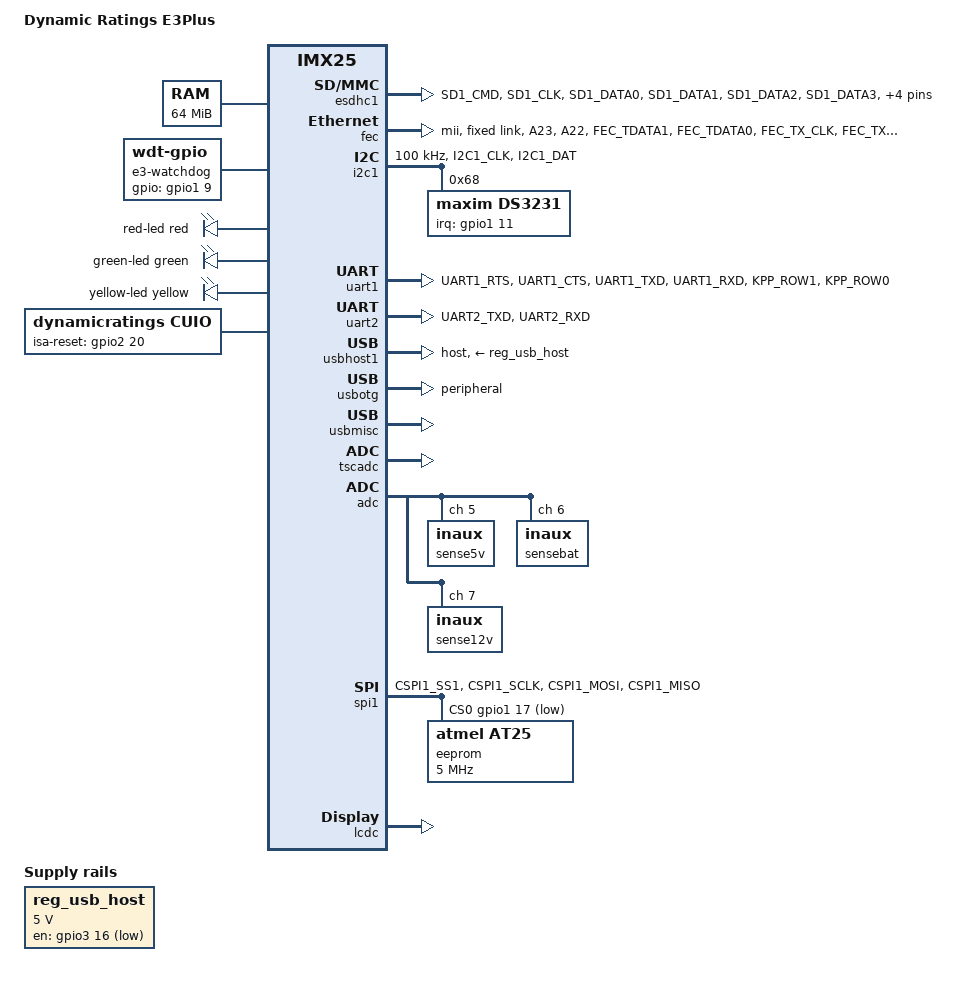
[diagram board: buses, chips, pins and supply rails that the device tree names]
// SPDX-License-Identifier: GPL-2.0+
//
// Copyright 2013 Freescale Semiconductor, Inc.

/dts-v1/;
#include <dt-bindings/gpio/gpio.h>
#include <dt-bindings/input/input.h>
#include <dt-bindings/interrupt-controller/irq.h>
#include <dt-bindings/iio/adc/fsl-imx25-gcq.h>
#include <dt-bindings/leds/common.h>
#include "imx25.dtsi"

/ {
	model = "Dynamic Ratings E3Plus";
	compatible = "fsl,imx25-dr-e3plus", "fsl,imx25";

	memory@80000000 {
		device_type = "memory";
		reg = <0x80000000 0x4000000>;
	};

	regulators {
		compatible = "simple-bus";
		#address-cells = <1>;
		#size-cells = <0>;

		reg_fec_3v3: regulator@0 {
			compatible = "regulator-fixed";
			reg = <0>;
			regulator-name = "fec-3v3";
			regulator-min-microvolt = <3300000>;
			regulator-max-microvolt = <3300000>;
			regulator-always-on;
			status = "enabled";
		};

		reg_usb_host: regulator@1 {
			pinctrl-names = "default";
			pinctrl-0 = <&pinctrl_usb_pwr_en>;
			reg = <1>;

			compatible = "regulator-fixed";
			regulator-name = "usb-host-power";
			/* FIXME: enable the top port later */
			gpio = <&gpio3 16 GPIO_ACTIVE_LOW>;
			regulator-min-microvolt = <5000000>;
			regulator-max-microvolt = <5000000>;
		};
	};

};

&esdhc1 {
	pinctrl-names = "default";
	pinctrl-0 = <&pinctrl_esdhc1>;
	cd-gpios = <&gpio3 18 GPIO_ACTIVE_LOW>;		/* GPIO 18 */
	wp-gpios = <&gpio3 17 GPIO_ACTIVE_HIGH>;	/* GPIO 17 */
	status = "okay";
};

&fec {
	phy-mode = "mii";
	pinctrl-names = "default";
	pinctrl-0 = <&pinctrl_fec>;
	status = "okay";

	fixed-link {
		speed = <100>;
		full-duplex;
	};
};

&i2c1 {
	clock-frequency = <100000>;
	pinctrl-names = "default";
	pinctrl-0 = <&pinctrl_i2c1>;
	status = "okay";

	ds3231: rtc@68 {
		compatible = "maxim,ds3231";
		reg = <0x68>;
		pinctrl-names = "default";
		pinctrl-0 = <&pinctrl_rtc>;
		interrupt-parent = <&gpio1>;
		interrupts = <11 IRQ_TYPE_LEVEL_LOW>;
	};
};

&iomuxc {
	imx26-dr-e3plus	{

		pinctrl_esdhc1: esdhc1grp {
			fsl,pins = <
				MX25_PAD_SD1_CMD__ESDHC1_CMD		0x80000000
				MX25_PAD_SD1_CLK__ESDHC1_CLK		0x80000000
				MX25_PAD_SD1_DATA0__ESDHC1_DAT0		0x80000000
				MX25_PAD_SD1_DATA1__ESDHC1_DAT1		0x80000000
				MX25_PAD_SD1_DATA2__ESDHC1_DAT2		0x80000000
				MX25_PAD_SD1_DATA3__ESDHC1_DAT3		0x80000000
				MX25_PAD_VSTBY_REQ__GPIO_3_17		0x80000000
				MX25_PAD_VSTBY_ACK__GPIO_3_18		0x80000000
			>;
		};

		pinctrl_fec: fecgrp {
			fsl,pins = <
				MX25_PAD_A23__FEC_TDATA3		0x80000000
				MX25_PAD_A22__FEC_TDATA2		0x80000000
				MX25_PAD_FEC_TDATA1__FEC_TDATA1		0x80000000
				MX25_PAD_FEC_TDATA0__FEC_TDATA0		0x80000000

				MX25_PAD_FEC_TX_CLK__FEC_TX_CLK		0x1c0
				MX25_PAD_FEC_TX_EN__FEC_TX_EN		0x80000000
				MX25_PAD_A17__FEC_TX_ERR		0x80000000

				MX25_PAD_A21__FEC_RDATA3		0x80000000
				MX25_PAD_A20__FEC_RDATA2		0x80000000
				MX25_PAD_FEC_RDATA1__FEC_RDATA1		0x80000000
				MX25_PAD_FEC_RDATA0__FEC_RDATA0		0x80000000

				MX25_PAD_A24__FEC_RX_CLK		0x1c0
				MX25_PAD_FEC_RX_DV__FEC_RX_DV		0x80000000

				MX25_PAD_A18__FEC_COL			0x80000000
				MX25_PAD_A25__FEC_CRS			0x80000000

				MX25_PAD_FEC_MDC__FEC_MDC		0x00000040
				MX25_PAD_FEC_MDIO__FEC_MDIO		0x00000001	/* disable PKE and HYS */

				MX25_PAD_A19__FEC_RX_ERR		0x80000000

				/* Needed? */
				MX25_PAD_KPP_ROW2__GPIO_2_31		0x80000000
			>;
		};

		pinctrl_i2c1: i2c1grp {
			fsl,pins = <
				MX25_PAD_I2C1_CLK__I2C1_CLK		0x80000000
				MX25_PAD_I2C1_DAT__I2C1_DAT		0x80000000
			>;
		};

		pinctrl_kpp: kppgrp {
			fsl,pins = <
				MX25_PAD_KPP_ROW0__KPP_ROW0	0x80000000
				MX25_PAD_KPP_ROW1__KPP_ROW1	0x80000000
				MX25_PAD_KPP_ROW2__KPP_ROW2	0x80000000
				MX25_PAD_KPP_ROW3__KPP_ROW3	0x80000000
				MX25_PAD_KPP_COL0__KPP_COL0	0x80000000
				MX25_PAD_KPP_COL1__KPP_COL1	0x80000000
				MX25_PAD_KPP_COL2__KPP_COL2	0x80000000
				MX25_PAD_KPP_COL3__KPP_COL3	0x80000000
			>;
		};

		pinctrl_lcd: lcdgrp {
			fsl,pins = <
				MX25_PAD_LD0__LD0		0xe0
				MX25_PAD_LD1__LD1		0xe0
				MX25_PAD_LD2__LD2		0xe0
				MX25_PAD_LD3__LD3		0xe0
				MX25_PAD_HSYNC__HSYNC		0xe0
				MX25_PAD_VSYNC__VSYNC		0xe0
				MX25_PAD_LSCLK__LSCLK		0xe0
			>;
		};

		pinctrl_uart1: uart1grp {
			fsl,pins = <
				/* 0xE0 = 1110 0000 = PKE/PUE/100KUP */
				MX25_PAD_UART1_RTS__UART1_RTS		0xe0
				MX25_PAD_UART1_CTS__UART1_CTS		0xe0
				MX25_PAD_UART1_TXD__UART1_TXD		0x80000000
				/* 0xC0 = 1100 0000 = PKE/PUE/100KDN */
				MX25_PAD_UART1_RXD__UART1_RXD		0xc0
				MX25_PAD_KPP_ROW1__UART1_DSR		0xe0
				MX25_PAD_KPP_ROW0__UART1_DTR		0xe0
			>;
		};

		pinctrl_uart2: uart2grp {
			fsl,pins = <
				MX25_PAD_UART2_TXD__UART2_TXD		0x80000000
				MX25_PAD_UART2_RXD__UART2_RXD		0xc0
			>;
		};

		pinctrl_watchdog: wdoggrp {
			fsl,pins = <
				MX25_PAD_CSI_VSYNC__GPIO_1_9		0x80000000
			>;
		};

		pinctrl_rtc: rtcgrp {
			fsl,pins = <
				MX25_PAD_CSI_PIXCLK__GPIO_1_11		0x80000000
			>;
		};

		pinctrl_usb_pwr_en: usbpwrgrp {
			fsl,pins = <
				MX25_PAD_UPLL_BYPCLK__GPIO_3_16		0x80000000
				MX25_PAD_CSI_D9__GPIO_4_21		0x80000000
				MX25_PAD_GPIO_A__USBOTG_PWR		0x80000000
				MX25_PAD_GPIO_B__USBOTG_OC		0x80000000
			>;
		};

		pinctrl_leds: ledgrp {
			fsl,pins = <
				MX25_PAD_KPP_COL0__GPIO_3_1		0x80000000	/* Green */
				MX25_PAD_ECB__GPIO_3_23			0x80000000	/* Red */
				MX25_PAD_LBA__GPIO_3_24			0x80000000	/* Yellow */
				MX25_PAD_PWM__GPIO_1_26			0x80000000	/* LED7 CPU OK */
			>;
		};

		pinctrl_spi1: spi1grp {
			fsl,pins = <
				MX25_PAD_CSPI1_SS1__GPIO_1_17		0x80000000
				MX25_PAD_CSPI1_SCLK__CSPI1_SCLK		0x80000000
				MX25_PAD_CSPI1_MOSI__CSPI1_MOSI		0x80000000
				MX25_PAD_CSPI1_MISO__CSPI1_MISO		0x80000000
			>;
		};

		pinctrl_cuio: cuiogrp {
			fsl,pins = <
				/* PAD_CTL_PUE                     (1 << 6)
				   PAD_CTL_PUS_100K_DOWN           (0 << 4) */
				MX25_PAD_DE_B__GPIO_2_20		0x80000040
			>;
		};

		pinctrl_isa_int: isaintgrp {
			fsl,pins = <
				MX25_PAD_CSI_D7__GPIO_1_6		0x80000000	/* ISA IRQ 9 */
				MX25_PAD_CSI_D6__GPIO_1_31		0x80000000	/* ISA IRQ 7 */
				MX25_PAD_CSI_D5__GPIO_1_30		0x80000000	/* ISA IRQ 6 */
				MX25_PAD_CSI_D4__GPIO_1_29		0x80000000	/* ISA IR5 5 */
				MX25_PAD_CSI_D3__GPIO_1_28		0x80000000	/* ISA IRQ 4 */
				MX25_PAD_CSI_D2__GPIO_1_27		0x80000000	/* ISA IRQ 3 */
			>;
		};

	};
};

/* Console UART */
&uart1 {
	pinctrl-names = "default";
	pinctrl-0 = <&pinctrl_uart1>;
	uart-has-rtscts;
	status = "okay";
};

/* Keypad and LEDs UART */
&uart2 {
	pinctrl-names = "default";
	pinctrl-0 = <&pinctrl_uart2>;
	status = "okay";
};

&usbhost1 {
	phy_type = "serial";
	dr_mode = "host";
	vbus-supply = <&reg_usb_host>;
	over-current-active-high;
	status = "okay";
};

&usbotg {
	external-vbus-divider;
	phy_type = "utmi";
	dr_mode = "peripheral";
	over-current-active-low;
	status = "okay";
};

&usbmisc {
	status = "okay";
};

&tscadc {
	status = "okay";
};

&adc {
	status = "okay";

	sense5v: inaux@5 {
			reg = <5>;
			fsl,adc-refp = <MX25_ADC_REFP_INT>;
			fsl,adc-refn = <MX25_ADC_REFN_NGND>;
		};

	sensebat: inaux@6 {
			reg = <6>;
			fsl,adc-refp = <MX25_ADC_REFP_INT>;
			fsl,adc-refn = <MX25_ADC_REFN_NGND>;
		};

	sense12v: inaux@7 {
			reg = <7>;
			fsl,adc-refp = <MX25_ADC_REFP_INT>;
			fsl,adc-refn = <MX25_ADC_REFN_NGND>;
		};
};

&spi1 {
	status = "okay";
	pinctrl-names = "default";
	pinctrl-0 = <&pinctrl_spi1>;
	cs-gpios = <&gpio1 17 GPIO_ACTIVE_LOW>;

	eeprom: AT25DF081@0 {
		compatible = "atmel,at25";
		reg = <0>;
		spi-max-frequency = <5000000>;
		spi-cpha;
		spi-cpol;

		pagesize = <64>;
		size = <1048576>;
		address-width = <16>;
	};
};

&lcdc {
	status = "okay";
	display = <&e3lcd>;
};

&sdma {
	fsl,sdma-ram-script-name = "sdma-imx25.bin";
};

/ {
	e3-watchdog {
		compatible = "linux,wdt-gpio";
		pinctrl-names = "default";
		pinctrl-0 = <&pinctrl_watchdog>;
		gpio = <&gpio1 9 GPIO_ACTIVE_HIGH>;
		hw_algo = "toggle";
		hw_margin_ms = <1000>;
		always-running;
	};

	leds {
		compatible = "gpio-leds";
		pinctrl-names = "default";
		pinctrl-0 = <&pinctrl_leds>;

		red-led {
			function = LED_FUNCTION_PANIC;
			color = <LED_COLOR_ID_RED>;
			linux,default-trigger = "panic";
			gpio = <&gpio3 23 GPIO_ACTIVE_LOW>;
		};

		green-led {
			function = LED_FUNCTION_HEARTBEAT;
			linux,default-trigger = "heartbeat";
			gpio = <&gpio1 26 GPIO_ACTIVE_LOW>;
			color = <LED_COLOR_ID_GREEN>;
		};

		yellow-led {
			function = LED_FUNCTION_DISK_ACTIVITY;
			linux,default-trigger = "mmc0";
			color = <LED_COLOR_ID_YELLOW>;
			gpio = <&gpio3 24 GPIO_ACTIVE_LOW>;
		};
	};

	e3lcd: display {
		model = "E3PLUS-DISPLAY";
		native-mode = <&e3plus_lcd_timings>;
		bits-per-pixel = <4>;
		cmap-forcemono;

		/* PERCLK3 (66.5MHz) / 11 = 6045454Hz / 4 (bus bits) = 1.511MHz PCK */
		/* resultant freq should go into "clock-frequency" node below */
		/* cp-clock-divider = <11>; */

		/* TFT(31) = 0 COLOR(30) = 0 PBSIZ(29/28) = 10(4bpp) BPIX(27/25) = 010(4bpp) PIXPOL(24) = 0(AH)
		   FLMPOL(23) = 0(AH) LPPOL(22) = 0(AH) CLKPOL(21) = 0(NEGEDGE) OEPOL(20) = 0(AH) SCLKIDLE(19) = 0
		   END_SEL(18) = 0(LE) SWAP_SEL(17) = 1(1BPP) REV_VS(16) = 0(NORMAL) ACDSEL(15) = 0(FRM)
		   ACD(14/8) = 0(FIXME?) SCLKSEL(7) = 0(NO) SHARP(6) = 0 PCD(5/0) = 0(set by driver)

		   3        2       2         1          1       1      0        0
		   1        7       3         9          5       1      7        3
		   0-0-10 | 010-0 | 0-0-0-0 | 0-0-1-0 || 0-000 | 0000 | 0-0-00 | 0000 */

		/* 0x53FBC018 */
		fsl,pcr = <0x24020000>;

		display-timings {
			e3plus_lcd_timings: 320x240 {
				hactive = <320>;
				vactive = <240>;
				hfront-porch = <5>;	/* "right margin" */
				hback-porch = <5>;	/* "left margin" */
				vfront-porch = <1>;	/* "lower margin" */ /* ignored for Mono STN mode */
				vback-porch = <1>;	/* "upper margin" */ /* ignored for Mono STN mode */
				hsync-len = <3>;
				vsync-len = <1>;
				clock-frequency = <6045454>;
				hsync-active = <1>;
				vsync-active = <1>;
				pixelclk-active = <1>;

			};
		};
	};

	cuio {
		pinctrl-names = "default";
		pinctrl-0 = <&pinctrl_cuio>;
		compatible = "dynamicratings,cuio";
		isa-reset-gpios = <&gpio2 20 GPIO_ACTIVE_HIGH>;
		isa-reset-msec = <100>;
	};

	of_serial {
		#address-cells = <1>;
		#size-cells = <0>;

		pinctrl-names = "default";
		pinctrl-0 = <&pinctrl_isa_int>;
		compatible = "ns16550", "ns16550a";
		clock-frequency = <1843200>; /* FIXME! */
		interrupt-parent = <&gpio1>;

		serial0@0x2000 {
			reg = <0x2000 0x20>;
			interrupts = <6 GPIO_ACTIVE_HIGH>;
		};

		serial1@0x2020 {
			reg = <0x2020 0x20>;
			interrupts = <31 GPIO_ACTIVE_HIGH>;
		};

			/*
			<30 GPIO_ACTIVE_HIGH>,
			<29 GPIO_ACTIVE_HIGH>,
			<28 GPIO_ACTIVE_HIGH>,
			<27 GPIO_ACTIVE_HIGH>;
			*/
	};
};
